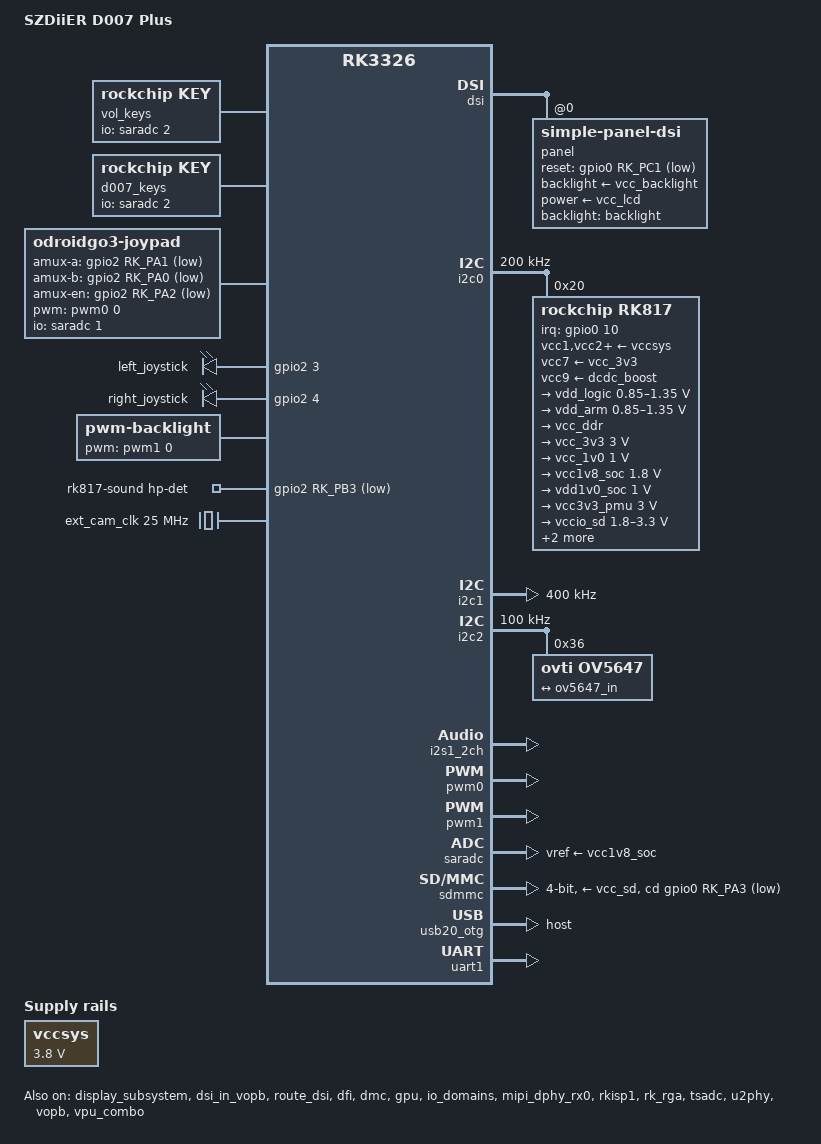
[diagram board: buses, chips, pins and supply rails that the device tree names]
// SPDX-License-Identifier: (GPL-2.0+ OR MIT)
/*
* Copyright (c) 2020 Hardkernel Co., Ltd
*/

/dts-v1/;
#include <dt-bindings/display/drm_mipi_dsi.h>
#include <dt-bindings/gpio/gpio.h>
#include <dt-bindings/input/input.h>
#include <dt-bindings/pinctrl/rockchip.h>
#include <dt-bindings/sensor-dev.h>
#include "rk3326.dtsi"
#include "rk3326-linux.dtsi"

/ {
	model = "SZDiiER D007 Plus";
	compatible = "rockchip,rk3326-d007-linux", "rockchip,rk3326";
	
	chosen {
		bootargs = "";
	};
	
	vol_keys: rg351-keys {
		compatible = "rockchip,key";
		io-channels = <&saradc 2>;
		poll-interval = <50>;
		autorepeat;
		
		repeat-delay-ms = <300>;
		repeat-period-ms = <40>;
		vol-down-key {
			linux,code = <KEY_VOLUMEDOWN>;
			label = "volume down";
			rockchip,adc_value = <166>;
		};
		
		vol-up-key {
			linux,code = <KEY_VOLUMEUP>;
			label = "volume up";
			rockchip,adc_value = <9>;
		};
	};

	d007_keys: d007-keys {
		compatible = "rockchip,key";
		io-channels = <&saradc 2>;
		select-key {
			linux,code = <BTN_SELECT>;
			label = "select";
			rockchip,adc_value = <347>;
		};
		
		start-key {
			linux,code = <BTN_START>;
			label = "start";
			rockchip,adc_value = <553>;
		};
		
		esc-key {
			linux,code = <BTN_BACK>;
			label = "fn";
			rockchip,adc_value = <740>;
		};
	};
	
	joypad: odroidgo3-joypad {
		compatible = "odroidgo3-joypad";
		pwms = <&pwm0 0 200000000 0>;
		pwm-names = "enable";
		rumble-boost-weak = <0x0000>;
		rumble-boost-strong = <0x0000>;
		joypad-name = "GO-Super Gamepad";
		joypad-product = <0x1100>;
		joypad-revision = <0x0100>;
		status = "okay";
		
		/* gpio pincontrol setup */
		pinctrl-names = "default";
		pinctrl-0 = <&btn_pins>;
		pinctrl-1 = <&pwm0_pin>;
		/* Analog mux define */
		io-channel-names = "amux_adc";
		io-channels = <&saradc 1>;
		
		/* adc mux channel count */
		amux-count = <4>;
		amux-channel-mapping = <1 0 3 2>;
		/* adc mux select(a,b) gpio */
		amux-a-gpios = <&gpio2 RK_PA1 GPIO_ACTIVE_LOW>;
		amux-b-gpios = <&gpio2 RK_PA0 GPIO_ACTIVE_LOW>;
		/* adc mux enable gpio */
		amux-en-gpios = <&gpio2 RK_PA2 GPIO_ACTIVE_LOW>;
		/* adc calculate scale */
		button-adc-scale = <2>;
		/* adc deadzone range  */
		button-adc-deadzone = <16>;
		/*
		specifies fuzz value that is used to filter noise from
		the event stream.
		*/
		button-adc-fuzz = <32>;
		button-adc-flat = <32>;
		/*
		Analog Stick data tuning value(precent)
		p = positive direction, n = negative direction
		report value = (real_adc_data * tuning_value) / 100
		*/
		abs_x-p-tuning = <200>;
		abs_x-n-tuning = <850>;
		
		abs_y-p-tuning = <250>;
		abs_y-n-tuning = <850>;
		
		abs_rx-p-tuning = <200>;
		abs_rx-n-tuning = <850>;
		
		abs_ry-p-tuning = <200>;
		abs_ry-n-tuning = <850>;
		
		/* poll device interval (ms), adc read interval */
		poll-interval = <10>;
		invert-absx;
		invert-absrx;
		sw1 {
			gpios = <&gpio3 RK_PD1 GPIO_ACTIVE_LOW>;
			label = "GPIO DPAD-UP";
			linux,code = <BTN_DPAD_UP>;
		};
		sw2 {
			gpios = <&gpio3 RK_PD2 GPIO_ACTIVE_LOW>;
			label = "GPIO DPAD-DOWN";
			linux,code = <BTN_DPAD_DOWN>;
		};
		sw3 {
			gpios = <&gpio3 RK_PB5 GPIO_ACTIVE_LOW>;
			label = "GPIO DPAD-LEFT";
			linux,code = <BTN_DPAD_LEFT>;
		};
		sw4 {
			gpios = <&gpio3 RK_PD0 GPIO_ACTIVE_LOW>;
			label = "GPIO DPAD-RIGHT";
			linux,code = <BTN_DPAD_RIGHT>;
		};
		sw5 {
			gpios = <&gpio3 RK_PC4 GPIO_ACTIVE_LOW>;
			label = "GPIO KEY BTN-A";
			linux,code = <BTN_EAST>;
		};
		sw6 {
			gpios = <&gpio3 RK_PC5 GPIO_ACTIVE_LOW>;
			label = "GPIO BTN-B";
			linux,code = <BTN_SOUTH>;
		};
		sw7 {
			gpios = <&gpio3 RK_PB3 GPIO_ACTIVE_LOW>;
			label = "GPIO BTN-Y";
			linux,code = <BTN_WEST>;
		};
		sw8 {
			gpios = <&gpio3 RK_PB2 GPIO_ACTIVE_LOW>;
			label = "GPIO BTN-X";
			linux,code = <BTN_NORTH>;
		};
		sw11 {
			gpios = <&gpio2 RK_PB2 GPIO_ACTIVE_LOW>;
			label = "BTN_THUMBR";
			linux,code = <BTN_TRIGGER_HAPPY4>;
		};
		sw12 {
			gpios = <&gpio2 RK_PB1 GPIO_ACTIVE_LOW>;
			label = "BTN_THUMBL";
			linux,code = <BTN_TRIGGER_HAPPY3>;
		};
		sw13 {
			gpios = <&gpio0 RK_PC2 GPIO_ACTIVE_LOW>;
			label = "GPIO BTN_F";
			linux,code = <BTN_TRIGGER_HAPPY5>;//占位用
		};
		sw15 {
			gpios = <&gpio3 RK_PC3 GPIO_ACTIVE_LOW>;
			label = "GPIO TOP-LEFT";
			linux,code = <BTN_TL>;
		};
		sw16 {
			gpios = <&gpio3 RK_PC1 GPIO_ACTIVE_LOW>;
			label = "GPIO TOP-RIGHT";
			linux,code = <BTN_TR>;
		};
		sw19 {
			gpios = <&gpio3 RK_PA7 GPIO_ACTIVE_LOW>;
			label = "BTN_SELECT";
			linux,code = <BTN_TRIGGER_HAPPY1>;//占位用
		};
		sw20 {
			gpios = <&gpio3 RK_PC0 GPIO_ACTIVE_LOW>;
			label = "GPIO TOP-RIGHT2";
			linux,code = <BTN_TR2>;
		};
		sw21 {
			gpios = <&gpio3 RK_PC2 GPIO_ACTIVE_LOW>;
			label = "GPIO TOP-LEFT2";
			linux,code = <BTN_TL2>;
		};
		sw22 {
			gpios = <&gpio3 RK_PB4 GPIO_ACTIVE_LOW>;
			label = "BTN_START";
			linux,code = <BTN_TRIGGER_HAPPY2>;//占位用
		};
	};
	
	fiq-debugger {
		compatible = "rockchip,fiq-debugger";
		rockchip,serial-id = <2>;
		rockchip,wake-irq = <0>;
		/* If enable uart uses irq instead of fiq */
		rockchip,irq-mode-enable = <0>;
		rockchip,baudrate = <115200>;  /* Only 115200 and 1500000 */
		interrupts = <GIC_SPI 127 IRQ_TYPE_LEVEL_LOW>;
		pinctrl-names = "default";
		pinctrl-0 = <&uart2m1_xfer>;
		status = "okay";
	};
	
	leds: gpio_leds {
		compatible = "gpio-leds";
		status = "okay";
		
		pinctrl-names = "led_pins";
		pinctrl-0 = <&led_pins>;
		
		left_joystick {
			default-state = "off";
			gpios = <&gpio2 3 GPIO_ACTIVE_HIGH>;
		};
		
		right_joystick  {
			default-state = "off";
			gpios = <&gpio2 4 GPIO_ACTIVE_HIGH>;
		};
	};
	
	backlight: backlight {
		compatible = "pwm-backlight";
		pwms = <&pwm1 0 62745 0>;
		brightness-levels = <
		2   3   4   5   6   7
		8   9  10  11  12  13  14  15
		16  17  18  19  20  21  22  23
		24  25  26  27  28  29  30  31
		32  33  34  35  36  37  38  39
		40  41  42  43  44  45  46  47
		48  49  50  51  52  53  54  55
		56  57  58  59  60  61  62  63
		64  65  66  67  68  69  70  71
		72  73  74  75  76  77  78  79
		80  81  82  83  84  85  86  87
		88  89  90  91  92  93  94  95
		96  97  98  99 100 101 102 >;
		default-brightness-level = <51>; /* default 50% */
	};
	
	rk817-sound {
		compatible = "simple-audio-card";
		simple-audio-card,format = "i2s";
		simple-audio-card,name = "rockchip,rk817-codec";
		simple-audio-card,mclk-fs = <256>;
		simple-audio-card,widgets =
		"Microphone", "Mic Jack",
		"Headphone", "Headphone Jack";
		simple-audio-card,routing =
		"MIC_IN", "Mic Jack",
		/*"IN1P", "Mic Jack",*/
		"Headphone Jack", "HPOL",
		"Headphone Jack", "HPOR";
		simple-audio-card,hp-det-gpio = <&gpio2 RK_PB3 GPIO_ACTIVE_LOW>;
		simple-audio-card,codec-hp-det = <1>;
		simple-audio-card,cpu {
			sound-dai = <&i2s1_2ch>;
		};
		simple-audio-card,codec {
			sound-dai = <&rk817_codec>;
		};
	};
	
	vccsys: vccsys {
		compatible = "regulator-fixed";
		regulator-name = "vcc3v8_sys";
		regulator-always-on;
		regulator-min-microvolt = <3800000>;
		regulator-max-microvolt = <3800000>;
	};
	
	ext_cam_clk: external-camera-clock {
		compatible = "fixed-clock";
		clock-frequency = <25000000>;
		clock-output-names = "CLK_CAMERA_25MHZ";
		#clock-cells = <0>;
	};
};
&bus_apll {
	bus-supply = <&vdd_logic>;
	status = "okay";
};

&cpu0 {
	cpu-supply = <&vdd_arm>;
};

&cpu0_opp_table {
	rockchip,avs = <1>;
	
	/* bin scaling clock 1.296MHz */
	rockchip,bin-scaling-sel = <
	0               13
	1               13
	>;
	
	/delete-node/ opp-408000000;
	/delete-node/ opp-600000000;
	/delete-node/ opp-816000000;
};

&display_subsystem {
	status = "okay";
};

&dsi {
	status = "okay";
	
	panel@0 {
		compatible = "simple-panel-dsi";
		reg = <0>;
		/* pwm1 backlight */
		backlight = <&backlight>;
		/* RK817 LDO7 */
		backlight-supply = <&vcc_backlight>;
		/* RK817 LDO8 */
		power-supply = <&vcc_lcd>;
		/* Rev 0.2 LCD reset gpio GPIO3.C0 */
		reset-gpios = <&gpio0 RK_PC1 GPIO_ACTIVE_LOW>;
		prepare-delay-ms = <120>;
		reset-delay-ms = <200>;
		init-delay-ms = <20>;
		enable-delay-ms = <20>;
		disable-delay-ms = <20>;
		unprepare-delay-ms = <120>;
		width-mm = <64>;
		height-mm = <48>;
		dsi,flags  = <(MIPI_DSI_MODE_VIDEO |
		MIPI_DSI_MODE_VIDEO_BURST |
		MIPI_DSI_MODE_LPM |
		MIPI_DSI_MODE_EOT_PACKET)>;
		dsi,format = <MIPI_DSI_FMT_RGB888>;
		dsi,lanes = <4>;
		panel-init-sequence = [15 00 02 ff 30 15 00 02 ff 52 15 00 02 ff 01 15 00 02 e3 00 15 00 02 24 12 15 00 02 25 14 15 00 02 26 78 15 00 02 27 78 15 00 02 28 6f 15 00 02 29 01 15 00 02 2a df 15 00 02 37 9c 15 00 02 38 a7 15 00 02 39 51 15 00 02 44 00 15 00 02 49 3c 15 00 02 59 fe 15 00 02 5c 00 15 00 02 80 20 15 00 02 91 77 15 00 02 92 77 15 00 02 a0 55 15 00 02 a1 50 15 00 02 a3 58 15 00 02 a4 9c 15 00 02 a7 02 15 00 02 a8 01 15 00 02 a9 21 15 00 02 aa fc 15 00 02 ab 28 15 00 02 ac 06 15 00 02 ad 06 15 00 02 ae 06 15 00 02 af 03 15 00 02 b0 08 15 00 02 b1 26 15 00 02 b2 28 15 00 02 b3 28 15 00 02 b4 03 15 00 02 b5 08 15 00 02 b6 26 15 00 02 b7 08 15 00 02 b8 26 15 00 02 ff 30 15 00 02 ff 52 15 00 02 ff 02 15 00 02 b0 0b 15 00 02 b1 16 15 00 02 b2 17 15 00 02 b3 2c 15 00 02 b4 32 15 00 02 b5 3b 15 00 02 b6 29 15 00 02 b7 40 15 00 02 b8 0d 15 00 02 b9 05 15 00 02 ba 12 15 00 02 bb 10 15 00 02 bc 12 15 00 02 bd 15 15 00 02 be 19 15 00 02 bf 0e 15 00 02 c0 16 15 00 02 c1 0a 15 00 02 d0 0c 15 00 02 d1 17 15 00 02 d2 14 15 00 02 d3 2e 15 00 02 d4 32 15 00 02 d5 3c 15 00 02 d6 22 15 00 02 d7 3d 15 00 02 d8 0d 15 00 02 d9 07 15 00 02 da 13 15 00 02 db 13 15 00 02 dc 11 15 00 02 dd 15 15 00 02 de 19 15 00 02 df 10 15 00 02 e0 17 15 00 02 e1 0a 15 00 02 ff 30 15 00 02 ff 52 15 00 02 ff 03 15 00 02 ff 30 15 00 02 ff 52 15 00 02 ff 03 15 00 02 00 00 15 00 02 01 00 15 00 02 02 00 15 00 02 03 00 15 00 02 04 61 15 00 02 05 80 15 00 02 06 c7 15 00 02 07 01 15 00 02 08 82 15 00 02 09 83 15 00 02 30 00 15 00 02 31 00 15 00 02 32 00 15 00 02 33 00 15 00 02 34 61 15 00 02 35 c5 15 00 02 36 80 15 00 02 37 23 15 00 02 40 82 15 00 02 41 83 15 00 02 42 80 15 00 02 43 81 15 00 02 44 11 15 00 02 45 e2 15 00 02 46 e1 15 00 02 47 11 15 00 02 48 e4 15 00 02 49 e3 15 00 02 50 02 15 00 02 51 01 15 00 02 52 04 15 00 02 53 03 15 00 02 54 11 15 00 02 55 e6 15 00 02 56 e5 15 00 02 57 11 15 00 02 58 e8 15 00 02 59 e7 15 00 02 7e 08 15 00 02 81 0f 15 00 02 84 0c 15 00 02 85 0d 15 00 02 86 07 15 00 02 87 04 15 00 02 88 05 15 00 02 89 06 15 00 02 8a 00 15 00 02 97 0f 15 00 02 9a 0c 15 00 02 9b 0d 15 00 02 9c 07 15 00 02 9d 04 15 00 02 9e 05 15 00 02 9f 06 15 00 02 a0 00 15 00 02 e0 02 15 00 02 e1 52 15 00 02 ff 30 15 00 02 ff 52 15 00 02 ff 00 15 00 02 36 02 05 c8 01 11 05 64 01 29];
		panel-exit-sequence = <0x5000128 0x5000110>;
		
		display-timings {
			native-mode = <&timing0>;
			
			timing0: origin {
				clock-frequency = <33000000>;
				hactive = <640>;
				vactive = <480>;
				hfront-porch = <120>;
				hsync-len = <2>;
				hback-porch = <120>;
				vfront-porch = <18>;
				vsync-len = <2>;
				vback-porch = <20>;
				hsync-active = <1>;
				vsync-active = <1>;
				de-active = <0>;
				pixelclk-active = <0>;
			};
		};
	};
};

&dsi_in_vopb {
	status = "okay";
};

&route_dsi {
	connect = <&vopb_out_dsi>;
	status = "okay";
};

&dfi {
	status = "okay";
};

&dmc {
	center-supply = <&vdd_logic>;
	status = "okay";
};

&dmc_opp_table {
	/delete-node/ opp-194000000;
	/delete-node/ opp-328000000;
	/delete-node/ opp-450000000;
	
	opp-786000000 {
		status = "okay";
	};
};

&gpu_opp_table {
	/delete-node/ opp-200000000;
	/delete-node/ opp-300000000;
};

&emmc {
	status = "disabled";
};

&sfc {
	status = "disabled";
};

&gpu {
	mali-supply = <&vdd_logic>;
	status = "okay";
};

&i2c0 {
	status = "okay";
	clock-frequency = <200000>;
	i2c-scl-rising-time-ns = <280>;
	i2c-scl-falling-time-ns = <16>;
	
	rk817: pmic@20 {
		compatible = "rockchip,rk817";
		reg = <0x20>;
		interrupt-parent = <&gpio0>;
		interrupts = <10 IRQ_TYPE_LEVEL_LOW>;
		pinctrl-names = "default", "pmic-sleep",
		"pmic-power-off", "pmic-reset";
		pinctrl-0 = <&pmic_int>;
		pinctrl-1 = <&soc_slppin_slp>, <&rk817_slppin_slp>;
		pinctrl-2 = <&soc_slppin_gpio>, <&rk817_slppin_pwrdn>;
		pinctrl-3 = <&soc_slppin_rst>, <&rk817_slppin_rst>;
		rockchip,system-power-controller;
		wakeup-source;
		#clock-cells = <1>;
		clock-output-names = "rk808-clkout1", "rk808-clkout2";
		//fb-inner-reg-idxs = <2>;
		
		/* 1: rst regs (default in codes), 0: rst the pmic */
		pmic-reset-func = <1>;
		
		vcc1-supply = <&vccsys>;
		vcc2-supply = <&vccsys>;
		vcc3-supply = <&vccsys>;
		vcc4-supply = <&vccsys>;
		vcc5-supply = <&vccsys>;
		vcc6-supply = <&vccsys>;
		vcc7-supply = <&vcc_3v3>;
		vcc8-supply = <&vccsys>;
		vcc9-supply = <&dcdc_boost>;
		
		pwrkey {
			status = "okay";
		};
		
		pinctrl_rk8xx: pinctrl_rk8xx {
			gpio-controller;
			#gpio-cells = <2>;
			
			rk817_ts_gpio1: rk817_ts_gpio1 {
				pins = "gpio_ts";
				function = "pin_fun1";
				/* output-low; */
				/* input-enable; */
			};
			
			rk817_gt_gpio2: rk817_gt_gpio2 {
				pins = "gpio_gt";
				function = "pin_fun1";
			};
			
			rk817_pin_ts: rk817_pin_ts {
				pins = "gpio_ts";
				function = "pin_fun0";
			};
			
			rk817_pin_gt: rk817_pin_gt {
				pins = "gpio_gt";
				function = "pin_fun0";
			};
			
			rk817_slppin_null: rk817_slppin_null {
				pins = "gpio_slp";
				function = "pin_fun0";
			};
			
			rk817_slppin_slp: rk817_slppin_slp {
				pins = "gpio_slp";
				function = "pin_fun1";
			};
			
			rk817_slppin_pwrdn: rk817_slppin_pwrdn {
				pins = "gpio_slp";
				function = "pin_fun2";
			};
			
			rk817_slppin_rst: rk817_slppin_rst {
				pins = "gpio_slp";
				function = "pin_fun3";
			};
		};
		
		regulators {
			vdd_logic: DCDC_REG1 {
				regulator-always-on;
				regulator-boot-on;
				regulator-min-microvolt = <850000>;
				regulator-max-microvolt = <1350000>;
				regulator-ramp-delay = <6001>;
				regulator-initial-mode = <0x2>;
				regulator-name = "vdd_logic";
				regulator-state-mem {
					regulator-on-in-suspend;
					regulator-suspend-microvolt = <950000>;
				};
			};
			
			vdd_arm: DCDC_REG2 {
				regulator-always-on;
				regulator-boot-on;
				regulator-min-microvolt = <850000>;
				regulator-max-microvolt = <1350000>;
				regulator-ramp-delay = <6001>;
				regulator-initial-mode = <0x2>;
				regulator-name = "vdd_arm";
				regulator-state-mem {
					regulator-off-in-suspend;
					regulator-suspend-microvolt = <950000>;
				};
			};
			
			vcc_ddr: DCDC_REG3 {
				regulator-always-on;
				regulator-boot-on;
				regulator-initial-mode = <0x2>;
				regulator-name = "vcc_ddr";
				regulator-state-mem {
					regulator-on-in-suspend;
				};
			};
			
			vcc_3v3: DCDC_REG4 {
				regulator-always-on;
				regulator-boot-on;
				regulator-min-microvolt = <3000000>;
				regulator-max-microvolt = <3000000>;
				regulator-initial-mode = <0x2>;
				regulator-name = "vcc_3v3";
				regulator-state-mem {
					regulator-off-in-suspend;
					regulator-suspend-microvolt = <3000000>;
				};
			};
			
			/* Not Used */
			vcc_1v0: LDO_REG1 {
				regulator-always-on;
				regulator-boot-on;
				regulator-min-microvolt = <1000000>;
				regulator-max-microvolt = <1000000>;
				regulator-name = "vcc_1v0";
				regulator-state-mem {
					regulator-on-in-suspend;
					regulator-suspend-microvolt = <1000000>;
				};
			};
			
			vcc1v8_soc: LDO_REG2 {
				regulator-always-on;
				regulator-boot-on;
				regulator-min-microvolt = <1800000>;
				regulator-max-microvolt = <1800000>;
				
				regulator-name = "vcc1v8_soc";
				regulator-state-mem {
					regulator-on-in-suspend;
					regulator-suspend-microvolt = <1800000>;
				};
			};
			
			vdd1v0_soc: LDO_REG3 {
				regulator-always-on;
				regulator-boot-on;
				regulator-min-microvolt = <1000000>;
				regulator-max-microvolt = <1000000>;
				
				regulator-name = "vcc1v0_soc";
				regulator-state-mem {
					regulator-on-in-suspend;
					regulator-suspend-microvolt = <1000000>;
				};
			};
			
			vcc3v3_pmu: LDO_REG4 {
				regulator-always-on;
				regulator-boot-on;
				regulator-min-microvolt = <3000000>;
				regulator-max-microvolt = <3000000>;
				
				regulator-name = "vcc3v3_pmu";
				regulator-state-mem {
					regulator-on-in-suspend;
					regulator-suspend-microvolt = <3000000>;
					
				};
			};
			
			vccio_sd: LDO_REG5 {
				regulator-always-on;
				regulator-boot-on;
				regulator-min-microvolt = <1800000>;
				regulator-max-microvolt = <3300000>;
				
				regulator-name = "vccio_sd";
				regulator-state-mem {
					regulator-on-in-suspend;
					regulator-suspend-microvolt = <3300000>;
				};
			};
			
			vcc_sd: LDO_REG6 {
				regulator-min-microvolt = <3300000>;
				regulator-max-microvolt = <3300000>;
				
				regulator-name = "vcc_sd";
				regulator-state-mem {
					regulator-on-in-suspend;
					regulator-suspend-microvolt = <3300000>;
					
				};
			};
			
			/* GO3 : Not used LCD Backlight Power */
			vcc_backlight: LDO_REG7 {
				regulator-boot-on;
				regulator-min-microvolt = <2800000>;
				regulator-max-microvolt = <2800000>;
				regulator-name = "vcc_backlight";
				regulator-state-mem {
					regulator-off-in-suspend;
					regulator-suspend-microvolt = <2800000>;
				};
			};
			
			/* Rev 0.1 GO3 LCD IO Power */
			vcc_lcd: LDO_REG8 {
				regulator-boot-on;
				regulator-min-microvolt = <1800000>;
				regulator-max-microvolt = <1800000>;
				regulator-name = "vcc_lcd";
				regulator-state-mem {
					regulator-off-in-suspend;
					regulator-suspend-microvolt = <1800000>;
				};
			};
			
			/* Rev 1.1 WIFI Power */
			vcc_wifi: LDO_REG9 {
				regulator-boot-on;
				regulator-min-microvolt = <1500000>;
				regulator-max-microvolt = <1500000>;
				regulator-name = "vcc_wifi";
				regulator-state-mem {
					regulator-off-in-suspend;
					regulator-suspend-microvolt = <1500000>;
				};
			};
			
			dcdc_boost: BOOST {
				regulator-always-on;
				regulator-boot-on;
				regulator-min-microvolt = <4700000>;
				regulator-max-microvolt = <5400000>;
				regulator-name = "boost";
			};
			
			otg_switch: OTG_SWITCH {
				regulator-boot-on;
				regulator-name = "otg_switch";
			};
		};
		
		battery {
			compatible = "rk817,battery";
			ocv_table = <3165 3220 3280 3330 3380 3430 3480
			3530 3580 3630 3670 3710 3750 3790
			3830 3870 3910 3950 3990 3995 4000>;
			
			
			/* KPL605475 Battery Spec */
			/*
			Capacity : 3.7V 3000mA
			Normal Voltage = 3.7V
			Cut-Off Voltage : 3.1V
			Internal Impedance : 180 mOhm
			Charging Voltage : 4.2V
			Charging Voltage Max : 4.25V
			Sample resister : 10 mohm
			*/
			design_capacity = <2394>;
			design_qmax = <2500>;
			bat_res = <100>;
			sleep_enter_current = <300>;
			sleep_exit_current = <300>;
			sleep_filter_current = <100>;
			power_off_thresd = <3400>;
			zero_algorithm_vol = <3850>;
			max_soc_offset = <60>;
			monitor_sec = <5>;
			virtual_power = <0>;
			sample_res = <10>;
			power_dc2otg = <0>;
		};
		
		charger {
			compatible = "rk817,charger";
			min_input_voltage = <4500>;
			max_input_current = <1500>;
			max_chrg_current = <2000>;
			max_chrg_voltage = <4200>;
			chrg_term_mode = <0>;
			chrg_finish_cur = <300>;
			virtual_power = <0>;
			sample_res = <10>;
			dc_det_gpio  = <0>;
			//dc_det_adc = <0>;
			extcon = <&u2phy>;
		};
		
		rk817_codec: codec {
			#sound-dai-cells = <0>;
			compatible = "rockchip,rk817-codec";
			clocks = <&cru SCLK_I2S1_OUT>;
			clock-names = "mclk";
			pinctrl-names = "default";
			pinctrl-0 = <&i2s1_2ch_mclk>;
			//hp-ctl-gpios = <&gpio0 RK_PA2 GPIO_ACTIVE_HIGH>;
			spk-ctl-gpios = <&gpio0 RK_PB3 GPIO_ACTIVE_HIGH>;
			spk-mute-delay-ms = <50>;
			use-ext-amplifier;
			hp-volume = <20>;
			spk-volume = <3>;
			status = "okay";
		};
	};
};

/* EXT Header(P2) : 7(SCL:GPIO0.C2), 8(SDA:GPIO0.C3) */
&i2c1 {
	status = "okay";
	clock-frequency = <400000>;
};

/* MIPI CSI I2C */
&i2c2 {
	status = "okay";
	
	clock-frequency = <100000>;
	
	i2c-scl-falling-time-ns = <50>;
	i2c-scl-rising-time-ns = <300>;
	
	ov5647: ov5647@36 {
		compatible = "ovti,ov5647";
		reg = <0x36>;
		clocks = <&ext_cam_clk>;
		status = "okay";
		
		port {
			ov5647_out: endpoint {
				remote-endpoint = <&ov5647_in>;
				data-lanes = <1 2>;
			};
		};
	};
};

/* I2S 1 Channel Used */
&i2s1_2ch {
	status = "okay";
	#sound-dai-cells = <0>;
};

&io_domains {
	/* GRF Register Voltage select control */
	status = "okay";
	
	/* SDIO I/O Voltage */
	vccio1-supply = <&vcc_3v3>;
	/* SDMMC I/O Voltage */
	vccio2-supply = <&vccio_sd>;
	/* CAM I/O Voltage */
	vccio3-supply = <&vcc_3v3>;
	/* LVDS/LCDC I/O Voltage */
	vccio4-supply = <&vcc_3v3>;
	/* I2S I/O Voltage */
	vccio5-supply = <&vcc_3v3>;
	/* eMMC I/O Voltage */
	vccio6-supply = <&vcc_3v3>;
};

&isp_mmu {
	status = "okay";
};

&mipi_dphy_rx0 {
	status = "okay";
	
	ports {
		#address-cells = <1>;
		#size-cells = <0>;
		
		port@0 {
			reg = <0>;
			
			#address-cells = <1>;
			#size-cells = <0>;
			
			ov5647_in: endpoint@1 {
				reg = <1>;
				
				remote-endpoint = <&ov5647_out>;
				data-lanes = <1 2>;
			};
		};
		
		port@1 {
			reg = <1>;
			
			dphy_rx0_out: endpoint@0 {
				remote-endpoint = <&isp0_mipi_in>;
			};
		};
	};
};

&rkisp1 {
	status = "okay";
	
	port {
		#address-cells = <1>;
		#size-cells = <0>;
		
		/* mipi */
		isp0_mipi_in: endpoint@0 {
			reg = <0>;
			remote-endpoint = <&dphy_rx0_out>;
		};
	};
};

&spi0 {
	status = "disabled";
};

&pmu_io_domains {
	/* PMU GRF Register Voltage select control */
	status = "okay";
	
	/* PMU I/O Voltage */
	pmuio1-supply = <&vcc3v3_pmu>;
	/* GPIO0_B/GPIO0_C, Flash */
	pmuio2-supply = <&vcc3v3_pmu>;
};

/* Rumble PWM */
&pwm0 {
	status = "okay";
};

/* LCD Backlight PWM */
&pwm1 {
	status = "okay";
};

&rk_rga {
	status = "okay";
};

&rockchip_suspend {
	status = "okay";
	rockchip,sleep-debug-en = <1>;
};

&saradc {
	status = "okay";
	vref-supply = <&vcc1v8_soc>;
};

&sdmmc {
	bus-width = <4>;
	cap-mmc-highspeed;
	cap-sd-highspeed;
	supports-sd;
	card-detect-delay = <800>;
	ignore-pm-notify;
	cd-gpios = <&gpio0 RK_PA3 GPIO_ACTIVE_LOW>; /*[> CD GPIO <]*/
	sd-uhs-sdr12;
	sd-uhs-sdr25;
	sd-uhs-sdr50;
	sd-uhs-sdr104;
	vqmmc-supply = <&vccio_sd>;
	vmmc-supply = <&vcc_sd>;
	status = "okay";
};

&tsadc {
	pinctrl-names = "gpio", "otpout";
	pinctrl-0 = <&tsadc_otp_gpio>;
	pinctrl-1 = <&tsadc_otp_out>;
	status = "okay";
};

&u2phy {
	status = "okay";
	
	u2phy_host: host-port {
		status = "okay";
		phy-supply = <&otg_switch>;
	};
	
	u2phy_otg: otg-port {
		status = "disabled";
	};
};

&usb20_otg {
	dr_mode = "host";
	status = "okay";
};

/*
EXT Header(P2) UART :
2(RXD:GPIO1.C0),3(TXD:GPIO1.C1),4(CTS:GPIO1.C2),5(RTS:GPIO1.C3)
*/
&uart1 {
	pinctrl-names = "default";
	pinctrl-0 = <&uart1_xfer &uart1_cts>;
	status = "okay";
};

&vip_mmu {
	status = "okay";
};

&vopb {
	status = "okay";
};

&vopb_mmu {
	status = "okay";
};

&vpu_combo {
	status = "okay";
};

&pinctrl {
	pmic {
		/* ODROID-GO2 : PMIC_INT(GPIO0.PB2) */
		pmic_int: pmic_int {
			rockchip,pins =
			<0 RK_PB2 RK_FUNC_GPIO &pcfg_pull_up>;
		};
		
		/* ODROID-GO2 : PMIC_SLEEP(GPIO0.PA4) */
		soc_slppin_gpio: soc_slppin_gpio {
			rockchip,pins =
			<0 RK_PA4 RK_FUNC_GPIO &pcfg_output_low>;
		};
		
		soc_slppin_slp: soc_slppin_slp {
			rockchip,pins =
			<0 RK_PA4 RK_FUNC_1 &pcfg_pull_none>;
		};
		
		soc_slppin_rst: soc_slppin_rst {
			rockchip,pins =
			<0 RK_PA4 RK_FUNC_2 &pcfg_pull_none>;
		};
	};
	
	leds {
		led_pins: led-pins {
			rockchip,pins = <0 RK_PC1 RK_FUNC_GPIO &pcfg_pull_none>;
		};
	};
	btns {
		btn_pins: btn-pins {
			rockchip,pins = <1 RK_PB4 RK_FUNC_GPIO &pcfg_pull_up>,
			<1 RK_PB5 RK_FUNC_GPIO &pcfg_pull_up>,
			<1 RK_PB6 RK_FUNC_GPIO &pcfg_pull_up>,
			<1 RK_PB7 RK_FUNC_GPIO &pcfg_pull_up>,
			
			<1 RK_PA2 RK_FUNC_GPIO &pcfg_pull_up>,
			<1 RK_PA5 RK_FUNC_GPIO &pcfg_pull_up>,
			<1 RK_PA6 RK_FUNC_GPIO &pcfg_pull_up>,
			<1 RK_PA7 RK_FUNC_GPIO &pcfg_pull_up>,
			
			<2 RK_PA0 RK_FUNC_GPIO &pcfg_pull_up>,
			<2 RK_PA1 RK_FUNC_GPIO &pcfg_pull_up>,
			<2 RK_PA2 RK_FUNC_GPIO &pcfg_pull_up>,
			<2 RK_PA3 RK_FUNC_GPIO &pcfg_pull_up>,
			<2 RK_PA4 RK_FUNC_GPIO &pcfg_pull_up>,
			<2 RK_PA5 RK_FUNC_GPIO &pcfg_pull_up>,
			<2 RK_PA6 RK_FUNC_GPIO &pcfg_pull_up>,
			<2 RK_PA7 RK_FUNC_GPIO &pcfg_pull_up>,
			
			<2 RK_PB3 RK_FUNC_GPIO &pcfg_pull_up>,
			
			<3 RK_PA7 RK_FUNC_GPIO &pcfg_pull_up>,
			<3 RK_PC3 RK_FUNC_GPIO &pcfg_pull_up>,
			<3 RK_PC2 RK_FUNC_GPIO &pcfg_pull_up>,
			
			<3 RK_PC0 RK_FUNC_GPIO &pcfg_pull_up>,
			<3 RK_PB2 RK_FUNC_GPIO &pcfg_pull_up>,
			<3 RK_PC4 RK_FUNC_GPIO &pcfg_pull_up>,
			
			<3 RK_PC5 RK_FUNC_GPIO &pcfg_pull_up>,
			<3 RK_PB3 RK_FUNC_GPIO &pcfg_pull_up>,
			<3 RK_PB5 RK_FUNC_GPIO &pcfg_pull_up>,
			
			<3 RK_PD0 RK_FUNC_GPIO &pcfg_pull_up>,
			<3 RK_PD1 RK_FUNC_GPIO &pcfg_pull_up>,
			<3 RK_PD2 RK_FUNC_GPIO &pcfg_pull_up>,
			
			<3 RK_PB1 RK_FUNC_GPIO &pcfg_pull_up>,
			<3 RK_PB2 RK_FUNC_GPIO &pcfg_pull_up>,
			<3 RK_PB4 RK_FUNC_GPIO &pcfg_pull_up>,
			
			<3 RK_PC1 RK_FUNC_GPIO &pcfg_pull_up>;
		};
	};
};

/* DON'T PUT ANYTHING BELOW HERE.  PUT IT ABOVE PINCTRL */
/* DON'T PUT ANYTHING BELOW HERE.  PUT IT ABOVE PINCTRL */
/* DON'T PUT ANYTHING BELOW HERE.  PUT IT ABOVE PINCTRL */

